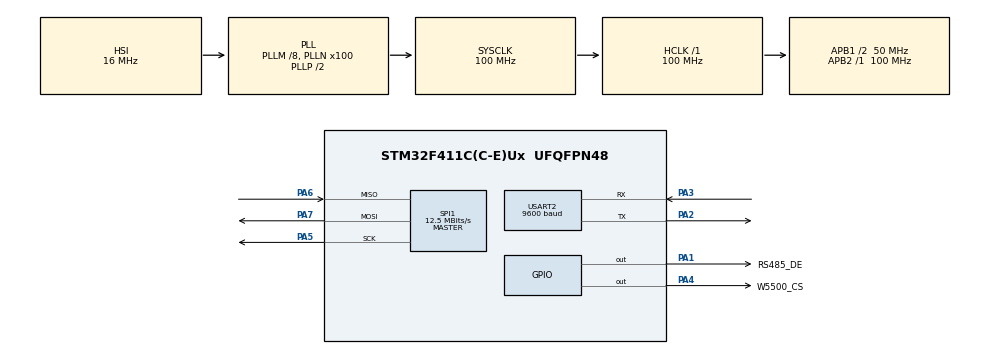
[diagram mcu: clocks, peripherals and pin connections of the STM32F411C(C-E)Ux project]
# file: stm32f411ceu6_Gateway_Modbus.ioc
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Dma.Request0=USART2_RX
Dma.Request1=USART2_TX
Dma.USART2_RX.0.Direction=DMA_PERIPH_TO_MEMORY
Dma.USART2_RX.0.FIFOMode=DMA_FIFOMODE_DISABLE
Dma.USART2_RX.0.Instance=DMA1_Stream5
Dma.USART2_RX.0.MemDataAlignment=DMA_MDATAALIGN_BYTE
Dma.USART2_RX.0.MemInc=DMA_MINC_ENABLE
Dma.USART2_RX.0.Mode=DMA_NORMAL
Dma.USART2_RX.0.PeriphDataAlignment=DMA_PDATAALIGN_BYTE
Dma.USART2_RX.0.PeriphInc=DMA_PINC_DISABLE
Dma.USART2_RX.0.Priority=DMA_PRIORITY_LOW
Dma.USART2_TX.1.Direction=DMA_MEMORY_TO_PERIPH
Dma.USART2_TX.1.FIFOMode=DMA_FIFOMODE_DISABLE
Dma.USART2_TX.1.Instance=DMA1_Stream6
Dma.USART2_TX.1.MemDataAlignment=DMA_MDATAALIGN_BYTE
Dma.USART2_TX.1.MemInc=DMA_MINC_ENABLE
Dma.USART2_TX.1.Mode=DMA_NORMAL
Dma.USART2_TX.1.PeriphDataAlignment=DMA_PDATAALIGN_BYTE
Dma.USART2_TX.1.PeriphInc=DMA_PINC_DISABLE
Dma.USART2_TX.1.Priority=DMA_PRIORITY_LOW
FREERTOS.Tasks01=ModbusTCP_Task,24,256,StartModbusTCP_Task,Default,NULL,Dynamic,NULL,NULL;RTU_Poll_Task,32,128,StartRTU_Poll_Task,Default,NULL,Dynamic,NULL,NULL
FREERTOS.configTOTAL_HEAP_SIZE=20480
Mcu.Family=STM32F4
Mcu.Name=STM32F411C(C-E)Ux
Mcu.Package=UFQFPN48
NVIC.DMA1_Stream5_IRQn=true\:5\:0\:false\:false\:true\:true\:false\:true\:true
NVIC.DMA1_Stream6_IRQn=true\:5\:0\:false\:false\:true\:true\:false\:true\:true
NVIC.PriorityGroup=NVIC_PRIORITYGROUP_4
NVIC.TIM1_TRG_COM_TIM11_IRQn=true\:15\:0\:false\:false\:true\:false\:false\:true\:true
NVIC.TimeBase=TIM1_TRG_COM_TIM11_IRQn
NVIC.TimeBaseIP=TIM11
NVIC.USART2_IRQn=true\:5\:0\:false\:false\:true\:true\:false\:true\:true
PA1.GPIO_Label=RS485_DE
PA1.Signal=GPIO_Output
PA13.Mode=Serial_Wire
PA13.Signal=SYS_JTMS-SWDIO
PA14.Mode=Serial_Wire
PA14.Signal=SYS_JTCK-SWCLK
PA2.Mode=Asynchronous
PA2.Signal=USART2_TX
PA3.Mode=Asynchronous
PA3.Signal=USART2_RX
PA4.GPIO_Label=W5500_CS
PA4.PinState=GPIO_PIN_SET
PA4.Signal=GPIO_Output
PA5.Mode=Full_Duplex_Master
PA5.Signal=SPI1_SCK
PA6.Mode=Full_Duplex_Master
PA6.Signal=SPI1_MISO
PA7.Mode=Full_Duplex_Master
PA7.Signal=SPI1_MOSI
PH0\ -\ OSC_IN.Mode=HSE-External-Oscillator
PH0\ -\ OSC_IN.Signal=RCC_OSC_IN
PH1\ -\ OSC_OUT.Mode=HSE-External-Oscillator
PH1\ -\ OSC_OUT.Signal=RCC_OSC_OUT
ProjectManager.HeapSize=0x200
ProjectManager.StackSize=0x400
ProjectManager.TargetToolchain=STM32CubeIDE
RCC.48MHZClocksFreq_Value=50000000
RCC.AHBFreq_Value=100000000
RCC.APB1CLKDivider=RCC_HCLK_DIV2
RCC.APB1Freq_Value=50000000
RCC.APB1TimFreq_Value=100000000
RCC.APB2Freq_Value=100000000
RCC.APB2TimFreq_Value=100000000
RCC.CortexFreq_Value=100000000
RCC.HCLKFreq_Value=100000000
RCC.HSE_VALUE=25000000
RCC.HSI_VALUE=16000000
RCC.LSE_VALUE=32768
RCC.PLLM=8
RCC.PLLN=100
RCC.SYSCLKFreq_VALUE=100000000
RCC.SYSCLKSource=RCC_SYSCLKSOURCE_PLLCLK
RCC.VCOOutputFreq_Value=200000000
SPI1.BaudRatePrescaler=SPI_BAUDRATEPRESCALER_8
SPI1.CalculateBaudRate=12.5 MBits/s
SPI1.Direction=SPI_DIRECTION_2LINES
SPI1.Mode=SPI_MODE_MASTER
SPI1.VirtualType=VM_MASTER
USART2.BaudRate=9600
USART2.VirtualMode=VM_ASYNC
VP_FREERTOS_VS_CMSIS_V2.Mode=CMSIS_V2
VP_SYS_VS_tim11.Mode=TIM11
board=custom

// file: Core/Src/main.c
/* USER CODE BEGIN Header */
/**
  ******************************************************************************
  * @file           : main.c
  * @brief          : Main program body
  ******************************************************************************
  * @attention
  *
  * Copyright (c) 2026 STMicroelectronics.
  * All rights reserved.
  *
  * This software is licensed under terms that can be found in the LICENSE file
  * in the root directory of this software component.
  * If no LICENSE file comes with this software, it is provided AS-IS.
  *
  ******************************************************************************
  */
/* USER CODE END Header */
#include "main.h"
#include "cmsis_os.h"
#include "dma.h"
#include "spi.h"
#include "usart.h"
#include "gpio.h"

/* USER CODE BEGIN Includes */
#include "wizchip_conf.h" // Thư viện W5500
#include "socket.h"       // Thư viện Socket của W5500
#include "Modbus.h"       // Thư viện Modbus RTU
/* USER CODE END Includes */

/* USER CODE BEGIN PV */
/* 1. Khai báo biến cho Modbus RTU Master */
modbusHandler_t ModbusRTU_Master;

/* 2. Trái tim của Gateway: Register Map nội bộ */
// Đây là nơi lưu trữ dữ liệu từ cảm biến RTU để PC/TCP có thể đọc[cite: 138, 139].
uint16_t Gateway_Register_Map[128];

/* 3. Cấu trúc mạng tĩnh cho W5500 */
wiz_NetInfo gWIZNETINFO = { .mac = {0x00, 0x08, 0xdc, 0xab, 0xcd, 0xef},
                            .ip = {192, 168, 1, 199},   // IP của Gateway
                            .sn = {255, 255, 255, 0},
                            .gw = {192, 168, 1, 1},
                            .dns = {8, 8, 8, 8},
                            .dhcp = NETINFO_STATIC };
/* USER CODE END PV */

void SystemClock_Config(void);
void MX_FREERTOS_Init(void);

int main(void)
{

  /* MCU Configuration--------------------------------------------------------*/

  /* Reset of all peripherals, Initializes the Flash interface and the Systick. */
  HAL_Init();

  /* Configure the system clock */
  SystemClock_Config();

  /* Initialize all configured peripherals */
  MX_GPIO_Init();
  MX_DMA_Init();
  MX_SPI1_Init();
  MX_USART2_UART_Init();
  /* USER CODE BEGIN 2 */
  /* --- KHỞI TẠO MODBUS RTU MASTER --- */
    ModbusRTU_Master.uModbusType = MB_MASTER;
    ModbusRTU_Master.port = &huart2;         // Dùng USART2 cho RS485
    ModbusRTU_Master.u8id = 0;               // Master luôn có ID = 0
    ModbusRTU_Master.u16timeOut = 500;       // Timeout 500ms

    // Chân điều khiển DE/RE của RS485
    ModbusRTU_Master.EN_Port = RS485_DE_GPIO_Port;
    ModbusRTU_Master.EN_Pin  = RS485_DE_Pin;

    // Gắn mảng toàn cục vào làm Register Map
    ModbusRTU_Master.u16regs = Gateway_Register_Map;
    ModbusRTU_Master.u16regsize = 128;
    ModbusRTU_Master.xTypeHW = USART_HW_DMA; // Chạy bằng DMA cho mượt

    ModbusInit(&ModbusRTU_Master);
    ModbusStart(&ModbusRTU_Master);
  /* USER CODE END 2 */

  /* Init scheduler */
  osKernelInitialize();  /* Call init function for freertos objects (in cmsis_os2.c) */
  MX_FREERTOS_Init();

  /* Start scheduler */
  osKernelStart();

  /* We should never get here as control is now taken by the scheduler */

  /* Infinite loop */
  while (1)
  {

  }
}

void SystemClock_Config(void)
{
  RCC_OscInitTypeDef RCC_OscInitStruct = {0};
  RCC_ClkInitTypeDef RCC_ClkInitStruct = {0};

  /** Configure the main internal regulator output voltage
  */
  __HAL_RCC_PWR_CLK_ENABLE();
  __HAL_PWR_VOLTAGESCALING_CONFIG(PWR_REGULATOR_VOLTAGE_SCALE1);

  /** Initializes the RCC Oscillators according to the specified parameters
  * in the RCC_OscInitTypeDef structure.
  */
  RCC_OscInitStruct.OscillatorType = RCC_OSCILLATORTYPE_HSI;
  RCC_OscInitStruct.HSIState = RCC_HSI_ON;
  RCC_OscInitStruct.HSICalibrationValue = RCC_HSICALIBRATION_DEFAULT;
  RCC_OscInitStruct.PLL.PLLState = RCC_PLL_ON;
  RCC_OscInitStruct.PLL.PLLSource = RCC_PLLSOURCE_HSI;
  RCC_OscInitStruct.PLL.PLLM = 8;
  RCC_OscInitStruct.PLL.PLLN = 100;
  RCC_OscInitStruct.PLL.PLLP = RCC_PLLP_DIV2;
  RCC_OscInitStruct.PLL.PLLQ = 4;
  if (HAL_RCC_OscConfig(&RCC_OscInitStruct) != HAL_OK)
  {
    Error_Handler();
  }

  /** Initializes the CPU, AHB and APB buses clocks
  */
  RCC_ClkInitStruct.ClockType = RCC_CLOCKTYPE_HCLK|RCC_CLOCKTYPE_SYSCLK
                              |RCC_CLOCKTYPE_PCLK1|RCC_CLOCKTYPE_PCLK2;
  RCC_ClkInitStruct.SYSCLKSource = RCC_SYSCLKSOURCE_PLLCLK;
  RCC_ClkInitStruct.AHBCLKDivider = RCC_SYSCLK_DIV1;
  RCC_ClkInitStruct.APB1CLKDivider = RCC_HCLK_DIV2;
  RCC_ClkInitStruct.APB2CLKDivider = RCC_HCLK_DIV1;

  if (HAL_RCC_ClockConfig(&RCC_ClkInitStruct, FLASH_LATENCY_3) != HAL_OK)
  {
    Error_Handler();
  }
}

/* USER CODE BEGIN 4 */
/* --- CÁC HÀM GIAO TIẾP SPI CHO W5500 --- */

// 1. Hàm kéo chân CS xuống thấp (Chọn chip)
void W5500_Select(void) {
    HAL_GPIO_WritePin(W5500_CS_GPIO_Port, W5500_CS_Pin, GPIO_PIN_RESET);
}

// 2. Hàm kéo chân CS lên cao (Bỏ chọn chip)
void W5500_Unselect(void) {
    HAL_GPIO_WritePin(W5500_CS_GPIO_Port, W5500_CS_Pin, GPIO_PIN_SET);
}

// 3. Hàm gửi 1 byte qua SPI1
void W5500_WriteByte(uint8_t byte) {
    HAL_SPI_Transmit(&hspi1, &byte, 1, HAL_MAX_DELAY);
}

// 4. Hàm đọc 1 byte từ SPI1
uint8_t W5500_ReadByte(void) {
    uint8_t rx_data = 0;
    uint8_t tx_data = 0xFF; // Gửi byte rác để đẩy xung nhịp đọc data về
    HAL_SPI_TransmitReceive(&hspi1, &tx_data, &rx_data, 1, HAL_MAX_DELAY);
    return rx_data;
}

/* 5. Hàm khởi tạo W5500 tổng hợp */
void W5500_Hardware_Init(void) {
    // Bỏ chọn chip trước khi cấu hình
    W5500_Unselect();

    // Đăng ký các hàm SPI với thư viện W5500
    reg_wizchip_cs_cbfunc(W5500_Select, W5500_Unselect);
    reg_wizchip_spi_cbfunc(W5500_ReadByte, W5500_WriteByte);

    // Cấp phát 2KB bộ nhớ đệm cho mỗi socket (W5500 có 8 socket)
    uint8_t rx_tx_buff_sizes[] = {2, 2, 2, 2, 2, 2, 2, 2};
    wizchip_init(rx_tx_buff_sizes, rx_tx_buff_sizes);

    // Nạp thông số IP, MAC xuống chip
    wizchip_setnetinfo(&gWIZNETINFO);
}
/* USER CODE END 4 */

void HAL_TIM_PeriodElapsedCallback(TIM_HandleTypeDef *htim)
{
  if (htim->Instance == TIM11)
  {
    HAL_IncTick();
  }
}

void Error_Handler(void)
{
  __disable_irq();
  while (1)
  {
  }
}

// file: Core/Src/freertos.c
/* USER CODE BEGIN Header */
/**
  ******************************************************************************
  * File Name          : freertos.c
  * Description        : Code for freertos applications
  ******************************************************************************
  * @attention
  *
  * Copyright (c) 2026 STMicroelectronics.
  * All rights reserved.
  *
  * This software is licensed under terms that can be found in the LICENSE file
  * in the root directory of this software component.
  * If no LICENSE file comes with this software, it is provided AS-IS.
  *
  ******************************************************************************
  */
/* USER CODE END Header */

#include "FreeRTOS.h"
#include "task.h"
#include "main.h"
#include "cmsis_os.h"

/* USER CODE BEGIN Includes */
#include "Modbus.h"
#include "wizchip_conf.h"
#include "socket.h"
/* USER CODE END Includes */

/* USER CODE BEGIN Variables */
// Báo cho freertos.c biết là các biến/hàm này đã được tạo ở main.c rồi
extern uint16_t Gateway_Register_Map[128];
extern modbusHandler_t ModbusRTU_Master;
extern void W5500_Hardware_Init(void);

// 1. Định nghĩa cấu trúc gói tin chuyển từ TCP sang RTU
typedef struct {
    uint8_t  function_code;
    uint16_t address;
    uint16_t value;
} RTU_Command_t;

// 2. Khai báo Handle cho Mutex và Queue
osMutexId_t RegMapMutexHandle;
osMessageQueueId_t CmdQueueHandle;
/* USER CODE END Variables */
/* Definitions for ModbusTCP_Task */
osThreadId_t ModbusTCP_TaskHandle;
const osThreadAttr_t ModbusTCP_Task_attributes = {
  .name = "ModbusTCP_Task",
  .stack_size = 256 * 4,
  .priority = (osPriority_t) osPriorityNormal,
};
/* Definitions for RTU_Poll_Task */
osThreadId_t RTU_Poll_TaskHandle;
const osThreadAttr_t RTU_Poll_Task_attributes = {
  .name = "RTU_Poll_Task",
  .stack_size = 128 * 4,
  .priority = (osPriority_t) osPriorityAboveNormal,
};

void StartModbusTCP_Task(void *argument);
void StartRTU_Poll_Task(void *argument);

void MX_FREERTOS_Init(void); /* (MISRA C 2004 rule 8.1) */

void MX_FREERTOS_Init(void) {

  /* USER CODE BEGIN RTOS_MUTEX */
  /* add mutexes, ... */
	const osMutexAttr_t RegMapMutex_attr = { .name = "RegMapMutex" };
	RegMapMutexHandle = osMutexNew(&RegMapMutex_attr);
  /* USER CODE END RTOS_MUTEX */

  /* USER CODE BEGIN RTOS_QUEUES */
  /* add queues, ... */
	  const osMessageQueueAttr_t CmdQueue_attr = { .name = "CmdQueue" };
	  // Tạo Queue chứa tối đa 10 lệnh, mỗi lệnh có kích thước bằng struct RTU_Command_t
	  CmdQueueHandle = osMessageQueueNew(10, sizeof(RTU_Command_t), &CmdQueue_attr);
  /* USER CODE END RTOS_QUEUES */

  /* Create the thread(s) */
  /* creation of ModbusTCP_Task */
  ModbusTCP_TaskHandle = osThreadNew(StartModbusTCP_Task, NULL, &ModbusTCP_Task_attributes);

  /* creation of RTU_Poll_Task */
  RTU_Poll_TaskHandle = osThreadNew(StartRTU_Poll_Task, NULL, &RTU_Poll_Task_attributes);

}

void StartModbusTCP_Task(void *argument)
{
  /* USER CODE BEGIN StartModbusTCP_Task */
	  uint16_t len = 0;
	  uint8_t tcp_rx_buffer[256];
	  uint8_t tcp_tx_buffer[256];

	  #define TCP_SOCKET 0
	  #define MODBUS_TCP_PORT 502

	  // 1. Khởi tạo phần cứng W5500 (Gắn SPI, nạp IP)
	  W5500_Hardware_Init();

	  /* Infinite loop */
	  for(;;)
	  {
	    // 2. State Machine quản lý Socket của W5500
	    switch(getSn_SR(TCP_SOCKET)) {

	        case SOCK_ESTABLISHED:
	            if(getSn_IR(TCP_SOCKET) & Sn_IR_CON) {
	                setSn_IR(TCP_SOCKET, Sn_IR_CON);
	            }

	            if((len = getSn_RX_RSR(TCP_SOCKET)) > 0) {
	                if(len > 256) len = 256;
	                recv(TCP_SOCKET, tcp_rx_buffer, len);

	                // --- BÓC TÁCH MODBUS TCP HEADER ---
	                if(len >= 12 && tcp_rx_buffer[2] == 0x00 && tcp_rx_buffer[3] == 0x00) {
	                    uint8_t unit_id = tcp_rx_buffer[6];
	                    uint8_t function_code = tcp_rx_buffer[7];

	                    // Xử lý lệnh Đọc (Function Code 03)
	                    if(function_code == 0x03) {
	                        uint16_t start_addr = (tcp_rx_buffer[8] << 8) | tcp_rx_buffer[9];
	                        uint16_t quantity = (tcp_rx_buffer[10] << 8) | tcp_rx_buffer[11];

	                        // Kiểm tra giới hạn mảng
	                        if((start_addr + quantity) <= 128 && quantity > 0) {
	                            uint16_t tx_index = 0;
	                            uint8_t byte_count = quantity * 2;

	                            // Đóng gói Header trả về
	                            tcp_tx_buffer[tx_index++] = tcp_rx_buffer[0];
	                            tcp_tx_buffer[tx_index++] = tcp_rx_buffer[1];
	                            tcp_tx_buffer[tx_index++] = 0x00;
	                            tcp_tx_buffer[tx_index++] = 0x00;

	                            uint16_t payload_length = 3 + byte_count;
	                            tcp_tx_buffer[tx_index++] = (payload_length >> 8) & 0xFF;
	                            tcp_tx_buffer[tx_index++] = payload_length & 0xFF;

	                            tcp_tx_buffer[tx_index++] = unit_id;
	                            tcp_tx_buffer[tx_index++] = 0x03;
	                            tcp_tx_buffer[tx_index++] = byte_count;

	                            // KHÓA MUTEX: Không cho ai ghi vào mảng lúc ta đang bốc dữ liệu ra
	                            osMutexAcquire(RegMapMutexHandle, osWaitForever);

	                            // Lấy dữ liệu từ Register Map (đã được Task kia cập nhật)
	                            for(int i = 0; i < quantity; i++) {
	                                tcp_tx_buffer[tx_index++] = (Gateway_Register_Map[start_addr + i] >> 8) & 0xFF;
	                                tcp_tx_buffer[tx_index++] = Gateway_Register_Map[start_addr + i] & 0xFF;
	                            }

	                            // MỞ MUTEX: Lấy xong rồi, trả lại mảng cho hệ thống
	                            osMutexRelease(RegMapMutexHandle);
	                            // Phản hồi về PC
	                            send(TCP_SOCKET, tcp_tx_buffer, tx_index);
	                        }
	                    }

                        // XỬ LÝ LỆNH GHI (FUNCTION CODE 0x06 - WRITE SINGLE REGISTER)
	                    else if(function_code == 0x06) {
	                    	uint16_t write_addr = (tcp_rx_buffer[8] << 8) | tcp_rx_buffer[9];
	                    	uint16_t write_value = (tcp_rx_buffer[10] << 8) | tcp_rx_buffer[11];

	                        // 1. Cập nhật giá trị mới vào Register Map nội bộ
	                            if(write_addr < 128) {
	                            	//Gateway_Register_Map[write_addr] = write_value;
	                            	// KHÓA MUTEX: Cập nhật RAM an toàn
	                            	osMutexAcquire(RegMapMutexHandle, osWaitForever);
	                            	Gateway_Register_Map[write_addr] = write_value;
	                            	osMutexRelease(RegMapMutexHandle);
	                            	// ĐÓNG GÓI LỆNH VÀ ĐẨY VÀO QUEUE CHO TẦNG RS485
	                            	RTU_Command_t new_cmd;
	                            	new_cmd.function_code = 0x06;
	                            	new_cmd.address = write_addr;
	                            	new_cmd.value = write_value;
	                            	osMessageQueuePut(CmdQueueHandle, &new_cmd, 0, 0); // Đẩy vào Queue ngay lập tức
	                            }

	                            // 2. Trả lời PC (Theo chuẩn Modbus TCP, lệnh 0x06 chỉ cần vọng (echo) lại y hệt Request)
	                             uint16_t tx_index = 0;

	                             // Copy lại toàn bộ 12 byte từ PC gửi xuống để vọng về
	                             for(int i = 0; i < 12; i++) {
	                            	 tcp_tx_buffer[tx_index++] = tcp_rx_buffer[i];
	                             }

	                             // Phản hồi về PC để xác nhận đã ghi thành công
	                             send(TCP_SOCKET, tcp_tx_buffer, tx_index);
	                      }
	                }
	            }
	            break;

	        case SOCK_CLOSE_WAIT:
	            disconnect(TCP_SOCKET);
	            break;

	        case SOCK_CLOSED:
	            socket(TCP_SOCKET, Sn_MR_TCP, MODBUS_TCP_PORT, 0);
	            break;

	        case SOCK_INIT:
	            listen(TCP_SOCKET);
	            break;
	    }

	    // Nhường CPU cho các Task khác
	    osDelay(10);
	  }
  /* USER CODE END StartModbusTCP_Task */
}

void StartRTU_Poll_Task(void *argument)
{
  /* USER CODE BEGIN StartRTU_Poll_Task */
  /* Infinite loop */
	RTU_Command_t received_cmd;
	modbus_t telegram;

	  // Thiết lập gói tin hỏi
	  telegram.u8id = 1;         // Slave ID
	  telegram.u8fct = 3;        // Function Code 03 (Read Holding Registers)
	  telegram.u16RegAdd = 0;    // Đọc từ thanh ghi số 0
	  telegram.u16CoilsNo = 4;   // Đọc 4 thanh ghi liên tiếp
	  telegram.u16reg = Gateway_Register_Map; // Dữ liệu trả về lưu thẳng vào mảng này

	  /* Infinite loop */
	  for(;;)
	  {
		  // Đứng chờ ở Queue xem có ai ra lệnh không. Chờ tối đa 500ms (500 ticks)
		      osStatus_t status = osMessageQueueGet(CmdQueueHandle, &received_cmd, NULL, 500);

		      if (status == osOK)
		      {
		          // TRƯỜNG HỢP 1: CÓ LỆNH TỪ PC (Nhận được từ Queue)
		          if (received_cmd.function_code == 0x06)
		          {
		              telegram.u8id = 1;            // Gửi tới Relay ID = 1
		              telegram.u8fct = 6;           // Lệnh Ghi (Write Single Register)
		              telegram.u16RegAdd = received_cmd.address;
		              telegram.u16CoilsNo = 1;
		              telegram.u16reg = &received_cmd.value;

		              // Lập tức gửi lệnh đóng/ngắt xuống RS485
		              ModbusQuery(&ModbusRTU_Master, telegram);
		          }
		      }
		      else
		      {
		          // TRƯỜNG HỢP 2: HẾT 500MS MÀ KHÔNG AI RA LỆNH -> ĐI HỎI CẢM BIẾN
		          telegram.u8id = 1;
		          telegram.u8fct = 3;        // Lệnh Đọc
		          telegram.u16RegAdd = 0;
		          telegram.u16CoilsNo = 4;
		          telegram.u16reg = Gateway_Register_Map; // Thư viện sẽ tự cập nhật vào mảng này

		          ModbusQuery(&ModbusRTU_Master, telegram);
		      }
	  }
  /* USER CODE END StartRTU_Poll_Task */
}
